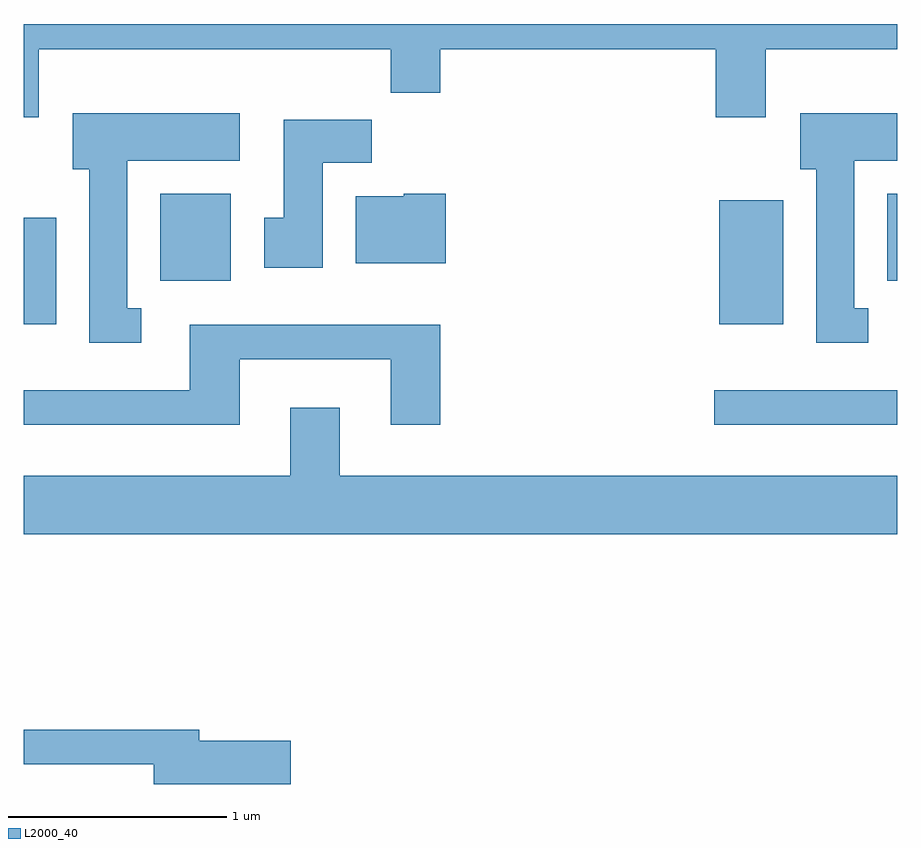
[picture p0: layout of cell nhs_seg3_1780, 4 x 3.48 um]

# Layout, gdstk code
import gdstk
lib = gdstk.Library(unit=1e-6, precision=1e-09)
def R(c, l, rs):  # rectangles x0, y0, x1, y1
    for r in rs: c.add(gdstk.rectangle(r[:2], r[2:], *l))
def P(c, l, *ps):  # polygons
    for p in ps: c.add(gdstk.Polygon(p, *l))
L2000_40 = (2000, 40)

nhs_seg3_1780 = lib.new_cell('nhs_seg3_1780')
R(nhs_seg3_1780, L2000_40, [(240.773,1142.056,241.611,1142.214), (237.611,1142.516,237.759,1143.004), (240.796,1142.516,241.089,1143.084), (238.236,1142.716,238.559,1143.114), (241.566,1142.716,241.611,1143.114)])
P(nhs_seg3_1780, L2000_40, [(237.679,1143.776),(239.291,1143.776),(239.291,1143.576),(239.519,1143.576),(239.519,1143.776),(240.781,1143.776),(240.781,1143.466),(241.009,1143.466),(241.009,1143.776),(241.611,1143.776),(241.611,1143.892),(237.611,1143.892),(237.611,1143.466),(237.679,1143.466)],
  [(241.478,1142.589),(241.414,1142.589),(241.414,1143.266),(241.611,1143.266),(241.611,1143.484),(241.166,1143.484),(241.166,1143.226),(241.241,1143.226),(241.241,1142.431),(241.478,1142.431)],
  [(238.148,1142.589),(238.084,1142.589),(238.084,1143.266),(238.599,1143.266),(238.599,1143.484),(237.836,1143.484),(237.836,1143.226),(237.911,1143.226),(237.911,1142.431),(238.148,1142.431)],
  [(238.979,1143.256),(239.204,1143.256),(239.204,1143.454),(238.801,1143.454),(238.801,1143.004),(238.711,1143.004),(238.711,1142.776),(238.979,1142.776)],
  [(239.544,1143.114),(239.35,1143.114),(239.35,1143.104),(239.131,1143.104),(239.131,1142.796),(239.544,1142.796)],
  [(238.599,1142.356),(239.291,1142.356),(239.291,1142.056),(239.519,1142.056),(239.519,1142.514),(238.371,1142.514),(238.371,1142.214),(237.611,1142.214),(237.611,1142.056),(238.599,1142.056)],
  [(241.611,1141.824),(239.059,1141.824),(239.059,1142.134),(238.831,1142.134),(238.831,1141.824),(237.611,1141.824),(237.611,1141.556),(241.611,1141.556)],
  [(238.834,1140.609),(238.414,1140.609),(238.414,1140.659),(237.611,1140.659),(237.611,1140.501),(238.206,1140.501),(238.206,1140.411),(238.834,1140.411)])

lib.write_gds('nhs_seg3_1780.gds')
